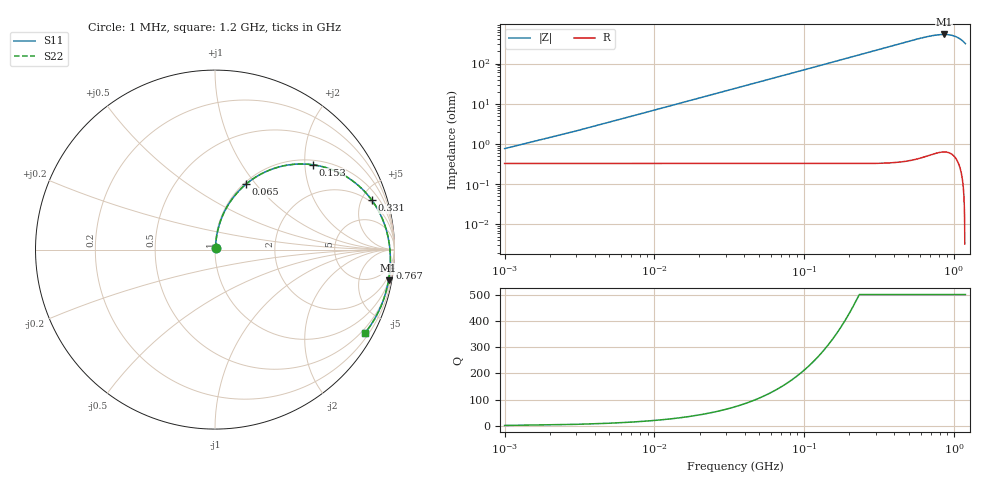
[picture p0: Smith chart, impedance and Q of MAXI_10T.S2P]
! Coilcraft 132-10SM_ Maxi Spring Air Core Inductor
! 28 May 2003
# MHZ S MA R 50
!Freq  MagS11  AngS11  MagS21  AngS21  MagS12  AngS12  MagS22  AngS22
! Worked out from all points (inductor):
!   601 points, 1 MHz to 1.2 GHz, reference 50 ohm
!   read as one part in series: L = 110 nH near 7 MHz
!   highest |Z| = 528 ohm at 863 MHz (marker M1)
!   S11 on the Smith chart (normalised r, x): 1 MHz: 1.01, +0.01; 65 MHz: 1.02, +0.89; 153 MHz: 1.11, +2.19; 331 MHz: 1.75, +5.99; 767 MHz: 4, -19; 1.2 GHz: 0.36, -3.80
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1  0.007502 63.8  0.9967 -0.4  0.9967 -0.4  0.007504 63.8
5  0.03392 82.5  0.9962 -2.0  0.9962 -2.0  0.03393 82.5
9  0.06078 83.3  0.9949 -3.6  0.9949 -3.6  0.0608 83.3
11  0.07419 83.0  0.994 -4.4  0.994 -4.4  0.07421 83.0
15  0.1009 82.1  0.9917 -6.1  0.9917 -6.1  0.1009 82.1
19  0.1274 80.9  0.9886 -7.6  0.9886 -7.6  0.1274 80.9
27  0.1795 78.2  0.9805 -10.8  0.9805 -10.8  0.1796 78.2
37  0.2426 74.6  0.967 -14.7  0.967 -14.7  0.2427 74.6
65  0.4024 64.7  0.9125 -24.9  0.9125 -24.9  0.4025 64.7
105  0.5795 52.5  0.8122 -37.3  0.8122 -37.3  0.5797 52.5
153  0.7205 41.0  0.6911 -48.8  0.6911 -48.8  0.7207 41.0
201  0.8076 32.4  0.5876 -57.5  0.5876 -57.5  0.8079 32.4
261  0.8727 24.4  0.4864 -65.5  0.4864 -65.5  0.873 24.4
331  0.9159 17.5  0.3997 -72.4  0.3997 -72.4  0.9162 17.5
401  0.941 12.2  0.3367 -77.7  0.3367 -77.7  0.9413 12.2
601  0.9723 1.3  0.2316 -88.6  0.2316 -88.6  0.9726 1.3
767  0.9806 -5.9  0.1933 -95.8  0.1933 -95.8  0.9809 -5.9
801  0.9813 -7.4  0.1895 -97.3  0.1895 -97.3  0.9816 -7.4
863  0.9819 -10.0  0.1863 -99.9  0.1863 -99.9  0.9822 -10.0
1001  0.9794 -16.4  0.1983 -106.4  0.1983 -106.4  0.9797 -16.4
1099  0.9725 -21.9  0.2289 -111.9  0.2289 -111.9  0.9728 -21.9
1200  0.955 -29.2  0.2924 -119.2  0.2924 -119.2  0.9553 -29.2
